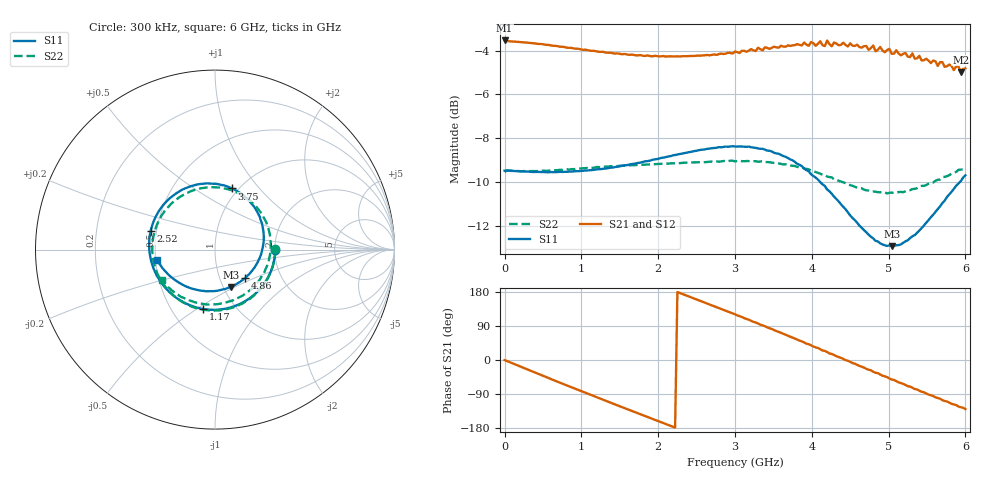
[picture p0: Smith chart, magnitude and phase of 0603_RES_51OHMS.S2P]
!Agilent Technologies,E5071C,MY46106283,A.09.10
!Date: Tue Jan 23 23:34:28 2001
!Data & Calibration Information:
!Freq	S11:SOLT2(ON)	S41:SOLT2(ON)	S14:SOLT2(ON)	S44:SOLT2(ON)
# Hz S dB R 50
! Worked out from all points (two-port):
!   201 points, 300 kHz to 6 GHz, reference 50 ohm
!   highest |S21| = -3.53 dB at 300 kHz (marker M1); lowest = -5.0 dB at 5.94 GHz (marker M2)
!   |S21| within 3 dB of the highest: start of sweep to end of sweep
!   lowest |S11| = -12.9 dB at 5.04 GHz (marker M3), VSWR 1.58, Z = 54.2 - j23.7 ohm
!   |S11| at or under -10 dB: 4.107 GHz to 5.93 GHz (1.823 GHz wide, 36.3 % of centre)
!   |S22| runs from -10.5 to -9.0 dB; largest |S21 - S12| = 0.017
!   S11 on the Smith chart (normalised r, x): 300 kHz: 2.01, -0.00; 1.17 GHz: 0.71, -0.53; 2.52 GHz: 0.46, +0.11; 3.75 GHz: 0.94, +0.73; 4.86 GHz: 1.32, -0.44; 6 GHz: 0.51, -0.07
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300000  -9.49 -0.1  -3.53 -0.3  -3.58 0.0  -9.54 0.2
2.702865e8  -9.53 -25.0  -3.63 -22.8  -3.62 -22.8  -9.51 -24.6
5.702715e8  -9.56 -51.7  -3.74 -47.6  -3.74 -47.6  -9.49 -50.8
1.020249e9  -9.49 -89.4  -3.96 -84.0  -3.96 -84.1  -9.38 -87.4
1.170242e9  -9.44 -101.3  -4.01 -96.0  -4.01 -96.1  -9.35 -98.9
1.560222e9  -9.24 -130.4  -4.15 -126.8  -4.16 -126.9  -9.26 -126.9
2.0102e9  -8.93 -161.8  -4.27 -162.0  -4.29 -162.1  -9.18 -156.9
2.250188e9  -8.75 -178.0  -4.26 179.3  -4.30 179.2  -9.14 -172.5
2.520174e9  -8.56 164.0  -4.23 158.3  -4.27 158.2  -9.10 170.0
3.00015e9  -8.38 131.1  -4.04 120.6  -4.11 120.9  -9.06 137.7
3.39013e9  -8.53 102.8  -3.85 89.1  -3.91 89.4  -9.10 108.4
3.750112e9  -9.02 74.3  -3.76 59.1  -3.80 59.4  -9.27 78.0
4.020099e9  -9.73 50.7  -3.66 35.5  -3.63 35.9  -9.51 52.6
4.41008e9  -11.14 11.7  -3.64 2.8  -3.67 2.5  -10.03 12.1
4.59007e9  -11.87 -8.9  -3.72 -12.9  -3.70 -13.3  -10.27 -7.9
4.860057e9  -12.72 -43.0  -3.97 -34.7  -4.00 -35.9  -10.47 -38.8
5.01005e9  -12.91 -63.1  -3.92 -48.7  -3.99 -49.0  -10.50 -55.4
5.040048e9  -12.94 -67.1  -4.15 -51.5  -4.13 -52.2  -10.49 -58.9
5.310034e9  -12.49 -102.0  -4.13 -73.5  -4.31 -73.8  -10.33 -87.7
5.490026e9  -11.87 -122.9  -4.37 -88.2  -4.53 -88.6  -10.14 -105.9
5.940003e9  -9.97 -164.9  -4.97 -124.8  -5.06 -125.1  -9.44 -145.1
6e9  -9.70 -169.8  -4.81 -129.6  -5.02 -129.6  -9.32 -149.8
